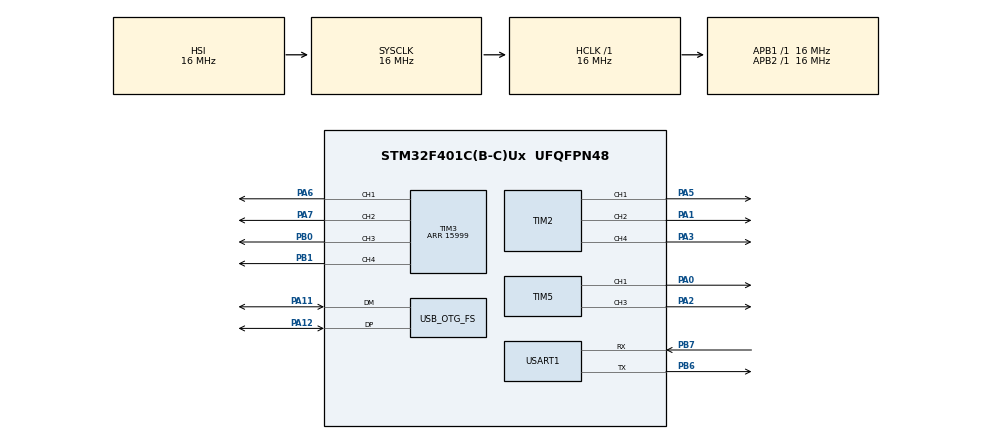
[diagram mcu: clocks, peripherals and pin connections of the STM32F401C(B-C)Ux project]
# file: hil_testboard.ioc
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Dma.Request0=TIM3_CH1/TRIG
Dma.Request1=TIM3_CH2
Dma.Request2=TIM3_CH3
Dma.Request3=TIM3_CH4/UP
Dma.Request4=USART1_RX
Dma.TIM3_CH1/TRIG.0.Direction=DMA_MEMORY_TO_PERIPH
Dma.TIM3_CH1/TRIG.0.FIFOMode=DMA_FIFOMODE_DISABLE
Dma.TIM3_CH1/TRIG.0.Instance=DMA1_Stream4
Dma.TIM3_CH1/TRIG.0.MemDataAlignment=DMA_MDATAALIGN_HALFWORD
Dma.TIM3_CH1/TRIG.0.MemInc=DMA_MINC_ENABLE
Dma.TIM3_CH1/TRIG.0.Mode=DMA_CIRCULAR
Dma.TIM3_CH1/TRIG.0.PeriphDataAlignment=DMA_PDATAALIGN_HALFWORD
Dma.TIM3_CH1/TRIG.0.PeriphInc=DMA_PINC_DISABLE
Dma.TIM3_CH1/TRIG.0.Priority=DMA_PRIORITY_LOW
Dma.TIM3_CH2.1.Direction=DMA_MEMORY_TO_PERIPH
Dma.TIM3_CH2.1.FIFOMode=DMA_FIFOMODE_DISABLE
Dma.TIM3_CH2.1.Instance=DMA1_Stream5
Dma.TIM3_CH2.1.MemDataAlignment=DMA_MDATAALIGN_HALFWORD
Dma.TIM3_CH2.1.MemInc=DMA_MINC_ENABLE
Dma.TIM3_CH2.1.Mode=DMA_CIRCULAR
Dma.TIM3_CH2.1.PeriphDataAlignment=DMA_PDATAALIGN_HALFWORD
Dma.TIM3_CH2.1.PeriphInc=DMA_PINC_DISABLE
Dma.TIM3_CH2.1.Priority=DMA_PRIORITY_LOW
Dma.TIM3_CH3.2.Direction=DMA_MEMORY_TO_PERIPH
Dma.TIM3_CH3.2.FIFOMode=DMA_FIFOMODE_DISABLE
Dma.TIM3_CH3.2.Instance=DMA1_Stream7
Dma.TIM3_CH3.2.MemDataAlignment=DMA_MDATAALIGN_HALFWORD
Dma.TIM3_CH3.2.MemInc=DMA_MINC_ENABLE
Dma.TIM3_CH3.2.Mode=DMA_CIRCULAR
Dma.TIM3_CH3.2.PeriphDataAlignment=DMA_PDATAALIGN_HALFWORD
Dma.TIM3_CH3.2.PeriphInc=DMA_PINC_DISABLE
Dma.TIM3_CH3.2.Priority=DMA_PRIORITY_LOW
Dma.TIM3_CH4/UP.3.Direction=DMA_MEMORY_TO_PERIPH
Dma.TIM3_CH4/UP.3.FIFOMode=DMA_FIFOMODE_DISABLE
Dma.TIM3_CH4/UP.3.Instance=DMA1_Stream2
Dma.TIM3_CH4/UP.3.MemDataAlignment=DMA_MDATAALIGN_HALFWORD
Dma.TIM3_CH4/UP.3.MemInc=DMA_MINC_ENABLE
Dma.TIM3_CH4/UP.3.Mode=DMA_CIRCULAR
Dma.TIM3_CH4/UP.3.PeriphDataAlignment=DMA_PDATAALIGN_HALFWORD
Dma.TIM3_CH4/UP.3.PeriphInc=DMA_PINC_DISABLE
Dma.TIM3_CH4/UP.3.Priority=DMA_PRIORITY_LOW
Dma.USART1_RX.4.Direction=DMA_PERIPH_TO_MEMORY
Dma.USART1_RX.4.FIFOMode=DMA_FIFOMODE_DISABLE
Dma.USART1_RX.4.Instance=DMA2_Stream2
Dma.USART1_RX.4.MemDataAlignment=DMA_MDATAALIGN_BYTE
Dma.USART1_RX.4.MemInc=DMA_MINC_ENABLE
Dma.USART1_RX.4.Mode=DMA_NORMAL
Dma.USART1_RX.4.PeriphDataAlignment=DMA_PDATAALIGN_BYTE
Dma.USART1_RX.4.PeriphInc=DMA_PINC_DISABLE
Dma.USART1_RX.4.Priority=DMA_PRIORITY_LOW
Mcu.Family=STM32F4
Mcu.Name=STM32F401C(B-C)Ux
Mcu.Package=UFQFPN48
NVIC.DMA1_Stream2_IRQn=true\:0\:0\:false\:false\:true\:false\:true\:true
NVIC.DMA1_Stream4_IRQn=true\:0\:0\:false\:false\:true\:false\:true\:true
NVIC.DMA1_Stream5_IRQn=true\:0\:0\:false\:false\:true\:false\:true\:true
NVIC.DMA1_Stream7_IRQn=true\:0\:0\:false\:false\:true\:false\:true\:true
NVIC.DMA2_Stream2_IRQn=true\:0\:0\:false\:false\:true\:false\:true\:true
NVIC.OTG_FS_IRQn=true\:0\:0\:false\:false\:true\:false\:true\:true
NVIC.PriorityGroup=NVIC_PRIORITYGROUP_4
NVIC.TIM2_IRQn=true\:0\:0\:false\:false\:true\:true\:true\:true
NVIC.TIM3_IRQn=true\:0\:0\:false\:false\:true\:true\:true\:true
NVIC.TIM5_IRQn=true\:0\:0\:false\:false\:true\:true\:true\:true
NVIC.USART1_IRQn=true\:0\:0\:false\:false\:true\:true\:true\:true
PA0-WKUP.Signal=S_TIM5_CH1
PA1.Signal=S_TIM2_CH2
PA11.Mode=Device_Only
PA11.Signal=USB_OTG_FS_DM
PA12.Mode=Device_Only
PA12.Signal=USB_OTG_FS_DP
PA2.Signal=S_TIM5_CH3
PA3.Signal=S_TIM2_CH4
PA5.Signal=S_TIM2_CH1_ETR
PA6.Signal=S_TIM3_CH1
PA7.Signal=S_TIM3_CH2
PB0.Signal=S_TIM3_CH3
PB1.Signal=S_TIM3_CH4
PB6.Mode=Asynchronous
PB6.Signal=USART1_TX
PB7.Mode=Asynchronous
PB7.Signal=USART1_RX
PH0\ -\ OSC_IN.Mode=HSE-External-Oscillator
PH0\ -\ OSC_IN.Signal=RCC_OSC_IN
PH1\ -\ OSC_OUT.Mode=HSE-External-Oscillator
PH1\ -\ OSC_OUT.Signal=RCC_OSC_OUT
ProjectManager.HeapSize=0x200
ProjectManager.StackSize=0x400
ProjectManager.TargetToolchain=CMake
RCC.48MHZClocksFreq_Value=48000000
RCC.AHBFreq_Value=16000000
RCC.APB1Freq_Value=16000000
RCC.APB2Freq_Value=16000000
RCC.CortexFreq_Value=16000000
RCC.HSE_VALUE=25000000
RCC.HSI_VALUE=16000000
RCC.LSE_VALUE=32768
RCC.PLLM=15
RCC.PLLN=144
RCC.PLLQ=5
RCC.SYSCLKFreq_VALUE=16000000
RCC.VCOOutputFreq_Value=240000000
SH.S_TIM2_CH1_ETR.0=TIM2_CH1,PWM Generation1 CH1
SH.S_TIM2_CH2.0=TIM2_CH2,PWM Generation2 CH2
SH.S_TIM2_CH4.0=TIM2_CH4,PWM Generation4 CH4
SH.S_TIM3_CH1.0=TIM3_CH1,PWM Generation1 CH1
SH.S_TIM3_CH2.0=TIM3_CH2,PWM Generation2 CH2
SH.S_TIM3_CH3.0=TIM3_CH3,PWM Generation3 CH3
SH.S_TIM3_CH4.0=TIM3_CH4,PWM Generation4 CH4
SH.S_TIM5_CH1.0=TIM5_CH1,PWM Generation1 CH1
SH.S_TIM5_CH3.0=TIM5_CH3,PWM Generation3 CH3
TIM2.Channel-PWM\ Generation1\ CH1=TIM_CHANNEL_1
TIM2.Channel-PWM\ Generation2\ CH2=TIM_CHANNEL_2
TIM2.Channel-PWM\ Generation4\ CH4=TIM_CHANNEL_4
TIM3.Channel-PWM\ Generation1\ CH1=TIM_CHANNEL_1
TIM3.Channel-PWM\ Generation2\ CH2=TIM_CHANNEL_2
TIM3.Channel-PWM\ Generation3\ CH3=TIM_CHANNEL_3
TIM3.Channel-PWM\ Generation4\ CH4=TIM_CHANNEL_4
TIM3.Period=15999
TIM5.Channel-PWM\ Generation1\ CH1=TIM_CHANNEL_1
TIM5.Channel-PWM\ Generation3\ CH3=TIM_CHANNEL_3
USART1.VirtualMode=VM_ASYNC
USB_DEVICE.CLASS_NAME_FS=CDC
USB_DEVICE.VirtualMode=Cdc
USB_DEVICE.VirtualModeFS=Cdc_FS
USB_OTG_FS.VirtualMode=Device_Only
VP_TIM2_VS_ClockSourceINT.Mode=Internal
VP_TIM3_VS_ClockSourceINT.Mode=Internal
VP_TIM5_VS_ClockSourceINT.Mode=Internal
VP_USB_DEVICE_VS_USB_DEVICE_CDC_FS.Mode=CDC_FS
board=custom

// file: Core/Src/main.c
/* USER CODE BEGIN Header */
#define TIM2_COUNTER_PERIOD 15999
#define TIM5_COUNTER_PERIOD 15999
/**
  ******************************************************************************
  * @file           : main.c
  * @brief          : Main program body
  ******************************************************************************
  * @attention
  *
  * Copyright (c) 2026 STMicroelectronics.
  * All rights reserved.
  *
  * This software is licensed under terms that can be found in the LICENSE file
  * in the root directory of this software component.
  * If no LICENSE file comes with this software, it is provided AS-IS.
  *
  ******************************************************************************
  */
/* USER CODE END Header */
#include "main.h"
#include "usb_device.h"
#include "usbd_cdc_if.h"

TIM_HandleTypeDef htim2;
TIM_HandleTypeDef htim3;
TIM_HandleTypeDef htim5;
DMA_HandleTypeDef hdma_tim3_ch1_trig;
DMA_HandleTypeDef hdma_tim3_ch2;
DMA_HandleTypeDef hdma_tim3_ch3;
DMA_HandleTypeDef hdma_tim3_ch4_up;

UART_HandleTypeDef huart1;
DMA_HandleTypeDef hdma_usart1_rx;

/* USER CODE BEGIN PV */
uint8_t rx_payload[2][22];
uint8_t current_buf = 0;  // Keeps track of which buffer the DMA is writing to (0 or 1)

/* USER CODE BEGIN PV */
#define BREATHE_STEPS 2000

// Full 0 to 100% Sine Wave scaled for a 15999 Period
uint16_t breath_table[BREATHE_STEPS];

/* USER CODE END PV */

void SystemClock_Config(void);
static void MX_GPIO_Init(void);
static void MX_DMA_Init(void);
static void MX_TIM2_Init(void);
static void MX_TIM3_Init(void);
static void MX_TIM5_Init(void);
static void MX_USART1_UART_Init(void);
/* USER CODE BEGIN PFP */
volatile uint8_t flag_10ms;

/* USER CODE END PFP */

int main(void)
{

  /* MCU Configuration--------------------------------------------------------*/

  /* Reset of all peripherals, Initializes the Flash interface and the Systick. */
  HAL_Init();

  /* Configure the system clock */
  SystemClock_Config();

  /* Initialize all configured peripherals */
  MX_GPIO_Init();
  MX_DMA_Init();
  MX_TIM2_Init();
  MX_TIM3_Init();
  MX_TIM5_Init();
  MX_USART1_UART_Init();
  MX_USB_DEVICE_Init();
  /* USER CODE BEGIN 2 */
  // 1. Generate a smooth quadratic breathing curve at startup
  // 1. Generate a smooth quadratic breathing curve at startup
  for(uint16_t i = 0; i < (BREATHE_STEPS / 2); i++)
    {
          // Calculate curve up to half the array
          // Max 'i' is now 999, so max brightness will perfectly hit ~15999
          uint16_t brightness = (uint16_t)( ((uint64_t)i * i * 15999ULL) / 1000000ULL );

          breath_table[i] = brightness;                             // First half: Fade IN
          breath_table[(BREATHE_STEPS - 1) - i] = brightness;       // Second half: Fade OUT
    }

  // --- Start TIM3 Channels (PA6, PB0, and PA7) in PWM DMA mode ---
  HAL_TIM_PWM_Start_DMA(&htim3, TIM_CHANNEL_1, (uint32_t*)breath_table, BREATHE_STEPS);
  HAL_TIM_PWM_Start_DMA(&htim3, TIM_CHANNEL_2, (uint32_t*)breath_table, BREATHE_STEPS);
  HAL_TIM_PWM_Start_DMA(&htim3, TIM_CHANNEL_3, (uint32_t*)breath_table, BREATHE_STEPS);
  HAL_TIM_PWM_Start_DMA(&htim3, TIM_CHANNEL_4, (uint32_t*)breath_table, BREATHE_STEPS);

  HAL_TIM_PWM_Start(&htim2, TIM_CHANNEL_1);
  __HAL_TIM_SET_COMPARE(&htim2, TIM_CHANNEL_1, (TIM2_COUNTER_PERIOD / 20)); //PA5

  HAL_TIM_PWM_Start(&htim2, TIM_CHANNEL_2);
  __HAL_TIM_SET_COMPARE(&htim2, TIM_CHANNEL_2, ((TIM2_COUNTER_PERIOD/ 4) * 3)); //A1

  HAL_TIM_PWM_Start(&htim2, TIM_CHANNEL_4);
  __HAL_TIM_SET_COMPARE(&htim2, TIM_CHANNEL_4, ((TIM2_COUNTER_PERIOD/5)* 6)); //A3

  // --- Start TIM3 Channels (PA6, PB0, and PA7) ---

  // --- Start TIM5 Channels (If you are using them) ---
  HAL_TIM_PWM_Start(&htim5, TIM_CHANNEL_1);
  __HAL_TIM_SET_COMPARE(&htim5, TIM_CHANNEL_1, TIM5_COUNTER_PERIOD / 20); //A0

  HAL_TIM_PWM_Start(&htim5, TIM_CHANNEL_3);
  __HAL_TIM_SET_COMPARE(&htim5, TIM_CHANNEL_3, TIM5_COUNTER_PERIOD); //A2

  /* USER CODE END 2 */

  /* Infinite loop */
  /* USER CODE BEGIN WHILE */
  HAL_UARTEx_ReceiveToIdle_DMA(&huart1, rx_payload[current_buf], 22);
  __HAL_DMA_DISABLE_IT(&hdma_usart1_rx, DMA_IT_HT);
  uint8_t test_msg[] = "data streaming\r\n";
  while (1)
  {
    //CDC_Transmit_FS(test_msg, sizeof(test_msg) - 1);
    //HAL_Delay(1000);  // Test to see if UART COM Port works to stream data to computer.

    /* USER CODE END WHILE */

  }
}

void SystemClock_Config(void)
{
  RCC_OscInitTypeDef RCC_OscInitStruct = {0};
  RCC_ClkInitTypeDef RCC_ClkInitStruct = {0};

  /** Configure the main internal regulator output voltage
  */
  __HAL_RCC_PWR_CLK_ENABLE();
  __HAL_PWR_VOLTAGESCALING_CONFIG(PWR_REGULATOR_VOLTAGE_SCALE2);

  /** Initializes the RCC Oscillators according to the specified parameters
  * in the RCC_OscInitTypeDef structure.
  */
  RCC_OscInitStruct.OscillatorType = RCC_OSCILLATORTYPE_HSI|RCC_OSCILLATORTYPE_HSE;
  RCC_OscInitStruct.HSEState = RCC_HSE_ON;
  RCC_OscInitStruct.HSIState = RCC_HSI_ON;
  RCC_OscInitStruct.HSICalibrationValue = RCC_HSICALIBRATION_DEFAULT;
  RCC_OscInitStruct.PLL.PLLState = RCC_PLL_ON;
  RCC_OscInitStruct.PLL.PLLSource = RCC_PLLSOURCE_HSE;
  RCC_OscInitStruct.PLL.PLLM = 15;
  RCC_OscInitStruct.PLL.PLLN = 144;
  RCC_OscInitStruct.PLL.PLLP = RCC_PLLP_DIV2;
  RCC_OscInitStruct.PLL.PLLQ = 5;
  if (HAL_RCC_OscConfig(&RCC_OscInitStruct) != HAL_OK)
  {
    Error_Handler();
  }

  /** Initializes the CPU, AHB and APB buses clocks
  */
  RCC_ClkInitStruct.ClockType = RCC_CLOCKTYPE_HCLK|RCC_CLOCKTYPE_SYSCLK
                              |RCC_CLOCKTYPE_PCLK1|RCC_CLOCKTYPE_PCLK2;
  RCC_ClkInitStruct.SYSCLKSource = RCC_SYSCLKSOURCE_HSI;
  RCC_ClkInitStruct.AHBCLKDivider = RCC_SYSCLK_DIV1;
  RCC_ClkInitStruct.APB1CLKDivider = RCC_HCLK_DIV1;
  RCC_ClkInitStruct.APB2CLKDivider = RCC_HCLK_DIV1;

  if (HAL_RCC_ClockConfig(&RCC_ClkInitStruct, FLASH_LATENCY_0) != HAL_OK)
  {
    Error_Handler();
  }
}

static void MX_TIM2_Init(void)
{

  TIM_ClockConfigTypeDef sClockSourceConfig = {0};
  TIM_MasterConfigTypeDef sMasterConfig = {0};
  TIM_OC_InitTypeDef sConfigOC = {0};

  htim2.Instance = TIM2;
  htim2.Init.Prescaler = 0;
  htim2.Init.CounterMode = TIM_COUNTERMODE_UP;
  htim2.Init.Period = TIM2_COUNTER_PERIOD;
  htim2.Init.ClockDivision = TIM_CLOCKDIVISION_DIV1;
  htim2.Init.AutoReloadPreload = TIM_AUTORELOAD_PRELOAD_DISABLE;
  if (HAL_TIM_Base_Init(&htim2) != HAL_OK)
  {
    Error_Handler();
  }
  sClockSourceConfig.ClockSource = TIM_CLOCKSOURCE_INTERNAL;
  if (HAL_TIM_ConfigClockSource(&htim2, &sClockSourceConfig) != HAL_OK)
  {
    Error_Handler();
  }
  if (HAL_TIM_PWM_Init(&htim2) != HAL_OK)
  {
    Error_Handler();
  }
  sMasterConfig.MasterOutputTrigger = TIM_TRGO_RESET;
  sMasterConfig.MasterSlaveMode = TIM_MASTERSLAVEMODE_DISABLE;
  if (HAL_TIMEx_MasterConfigSynchronization(&htim2, &sMasterConfig) != HAL_OK)
  {
    Error_Handler();
  }
  sConfigOC.OCMode = TIM_OCMODE_PWM1;
  sConfigOC.Pulse = 0;
  sConfigOC.OCPolarity = TIM_OCPOLARITY_HIGH;
  sConfigOC.OCFastMode = TIM_OCFAST_DISABLE;
  if (HAL_TIM_PWM_ConfigChannel(&htim2, &sConfigOC, TIM_CHANNEL_1) != HAL_OK)
  {
    Error_Handler();
  }
  if (HAL_TIM_PWM_ConfigChannel(&htim2, &sConfigOC, TIM_CHANNEL_2) != HAL_OK)
  {
    Error_Handler();
  }
  if (HAL_TIM_PWM_ConfigChannel(&htim2, &sConfigOC, TIM_CHANNEL_4) != HAL_OK)
  {
    Error_Handler();
  }
  HAL_TIM_MspPostInit(&htim2);

}

static void MX_TIM3_Init(void)
{

  TIM_ClockConfigTypeDef sClockSourceConfig = {0};
  TIM_MasterConfigTypeDef sMasterConfig = {0};
  TIM_OC_InitTypeDef sConfigOC = {0};

  htim3.Instance = TIM3;
  htim3.Init.Prescaler = 0;
  htim3.Init.CounterMode = TIM_COUNTERMODE_UP;
  htim3.Init.Period = 15999;
  htim3.Init.ClockDivision = TIM_CLOCKDIVISION_DIV1;
  htim3.Init.AutoReloadPreload = TIM_AUTORELOAD_PRELOAD_DISABLE;
  if (HAL_TIM_Base_Init(&htim3) != HAL_OK)
  {
    Error_Handler();
  }
  sClockSourceConfig.ClockSource = TIM_CLOCKSOURCE_INTERNAL;
  if (HAL_TIM_ConfigClockSource(&htim3, &sClockSourceConfig) != HAL_OK)
  {
    Error_Handler();
  }
  if (HAL_TIM_PWM_Init(&htim3) != HAL_OK)
  {
    Error_Handler();
  }
  sMasterConfig.MasterOutputTrigger = TIM_TRGO_RESET;
  sMasterConfig.MasterSlaveMode = TIM_MASTERSLAVEMODE_DISABLE;
  if (HAL_TIMEx_MasterConfigSynchronization(&htim3, &sMasterConfig) != HAL_OK)
  {
    Error_Handler();
  }
  sConfigOC.OCMode = TIM_OCMODE_PWM1;
  sConfigOC.Pulse = 0;
  sConfigOC.OCPolarity = TIM_OCPOLARITY_HIGH;
  sConfigOC.OCFastMode = TIM_OCFAST_DISABLE;
  if (HAL_TIM_PWM_ConfigChannel(&htim3, &sConfigOC, TIM_CHANNEL_1) != HAL_OK)
  {
    Error_Handler();
  }
  if (HAL_TIM_PWM_ConfigChannel(&htim3, &sConfigOC, TIM_CHANNEL_2) != HAL_OK)
  {
    Error_Handler();
  }
  if (HAL_TIM_PWM_ConfigChannel(&htim3, &sConfigOC, TIM_CHANNEL_3) != HAL_OK)
  {
    Error_Handler();
  }
  if (HAL_TIM_PWM_ConfigChannel(&htim3, &sConfigOC, TIM_CHANNEL_4) != HAL_OK)
  {
    Error_Handler();
  }
  HAL_TIM_MspPostInit(&htim3);

}

static void MX_TIM5_Init(void)
{

  TIM_ClockConfigTypeDef sClockSourceConfig = {0};
  TIM_MasterConfigTypeDef sMasterConfig = {0};
  TIM_OC_InitTypeDef sConfigOC = {0};

  htim5.Instance = TIM5;
  htim5.Init.Prescaler = 0;
  htim5.Init.CounterMode = TIM_COUNTERMODE_UP;
  htim5.Init.Period = TIM5_COUNTER_PERIOD;
  htim5.Init.ClockDivision = TIM_CLOCKDIVISION_DIV1;
  htim5.Init.AutoReloadPreload = TIM_AUTORELOAD_PRELOAD_DISABLE;
  if (HAL_TIM_Base_Init(&htim5) != HAL_OK)
  {
    Error_Handler();
  }
  sClockSourceConfig.ClockSource = TIM_CLOCKSOURCE_INTERNAL;
  if (HAL_TIM_ConfigClockSource(&htim5, &sClockSourceConfig) != HAL_OK)
  {
    Error_Handler();
  }
  if (HAL_TIM_PWM_Init(&htim5) != HAL_OK)
  {
    Error_Handler();
  }
  sMasterConfig.MasterOutputTrigger = TIM_TRGO_RESET;
  sMasterConfig.MasterSlaveMode = TIM_MASTERSLAVEMODE_DISABLE;
  if (HAL_TIMEx_MasterConfigSynchronization(&htim5, &sMasterConfig) != HAL_OK)
  {
    Error_Handler();
  }
  sConfigOC.OCMode = TIM_OCMODE_PWM1;
  sConfigOC.Pulse = 0;
  sConfigOC.OCPolarity = TIM_OCPOLARITY_HIGH;
  sConfigOC.OCFastMode = TIM_OCFAST_DISABLE;
  if (HAL_TIM_PWM_ConfigChannel(&htim5, &sConfigOC, TIM_CHANNEL_1) != HAL_OK)
  {
    Error_Handler();
  }
  if (HAL_TIM_PWM_ConfigChannel(&htim5, &sConfigOC, TIM_CHANNEL_3) != HAL_OK)
  {
    Error_Handler();
  }
  HAL_TIM_MspPostInit(&htim5);

}

static void MX_USART1_UART_Init(void)
{

  huart1.Instance = USART1;
  huart1.Init.BaudRate = 115200;
  huart1.Init.WordLength = UART_WORDLENGTH_8B;
  huart1.Init.StopBits = UART_STOPBITS_1;
  huart1.Init.Parity = UART_PARITY_NONE;
  huart1.Init.Mode = UART_MODE_TX_RX;
  huart1.Init.HwFlowCtl = UART_HWCONTROL_NONE;
  huart1.Init.OverSampling = UART_OVERSAMPLING_16;
  if (HAL_UART_Init(&huart1) != HAL_OK)
  {
    Error_Handler();
  }

}

static void MX_DMA_Init(void)
{

  /* DMA controller clock enable */
  __HAL_RCC_DMA1_CLK_ENABLE();
  __HAL_RCC_DMA2_CLK_ENABLE();

  /* DMA interrupt init */
  /* DMA1_Stream2_IRQn interrupt configuration */
  HAL_NVIC_SetPriority(DMA1_Stream2_IRQn, 0, 0);
  HAL_NVIC_EnableIRQ(DMA1_Stream2_IRQn);
  /* DMA1_Stream4_IRQn interrupt configuration */
  HAL_NVIC_SetPriority(DMA1_Stream4_IRQn, 0, 0);
  HAL_NVIC_EnableIRQ(DMA1_Stream4_IRQn);
  /* DMA1_Stream5_IRQn interrupt configuration */
  HAL_NVIC_SetPriority(DMA1_Stream5_IRQn, 0, 0);
  HAL_NVIC_EnableIRQ(DMA1_Stream5_IRQn);
  /* DMA1_Stream7_IRQn interrupt configuration */
  HAL_NVIC_SetPriority(DMA1_Stream7_IRQn, 0, 0);
  HAL_NVIC_EnableIRQ(DMA1_Stream7_IRQn);
  /* DMA2_Stream2_IRQn interrupt configuration */
  HAL_NVIC_SetPriority(DMA2_Stream2_IRQn, 0, 0);
  HAL_NVIC_EnableIRQ(DMA2_Stream2_IRQn);

}

static void MX_GPIO_Init(void)
{

  /* GPIO Ports Clock Enable */
  __HAL_RCC_GPIOH_CLK_ENABLE();
  __HAL_RCC_GPIOA_CLK_ENABLE();
  __HAL_RCC_GPIOB_CLK_ENABLE();

}

/* USER CODE BEGIN 4 */
void HAL_UARTEx_RxEventCallback(UART_HandleTypeDef *huart, uint16_t Size)
{
    if (huart->Instance == USART1)
    {
        // 1. Lock in the row that just finished filling
        uint8_t ready_row = current_buf;

        // 2. Flip the active row (0 becomes 1, 1 becomes 0)
        current_buf = 1 - current_buf;

        // 3. IMMEDIATELY re-arm the DMA on the NEW empty row
        HAL_UARTEx_ReceiveToIdle_DMA(&huart1, rx_payload[current_buf], 22);
        __HAL_DMA_DISABLE_IT(&hdma_usart1_rx, DMA_IT_HT);

        // 4. Now that the DMA is safely catching new bytes in the background,
        //    take your time processing/sending the row that just finished.
        CDC_Transmit_FS((uint8_t*)rx_payload[ready_row], Size);
    }
}

/* USER CODE END 4 */

void Error_Handler(void)
{
  __disable_irq();
  while (1)
  {
  }
}
